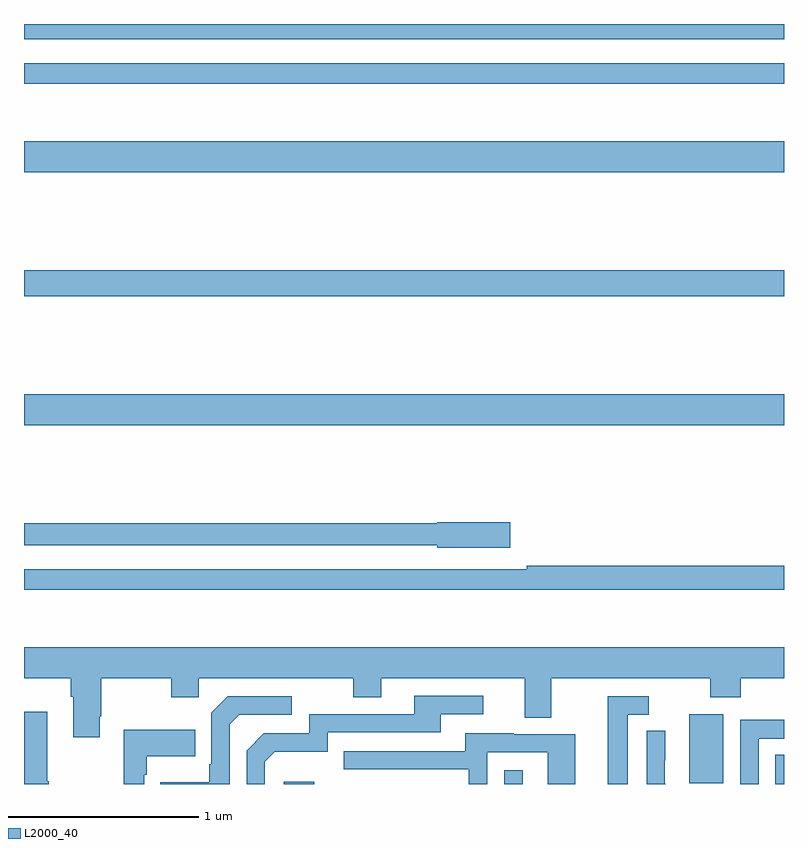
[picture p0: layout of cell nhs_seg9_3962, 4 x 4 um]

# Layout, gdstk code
import gdstk
lib = gdstk.Library(unit=1e-6, precision=1e-09)
def R(c, l, rs):  # rectangles x0, y0, x1, y1
    for r in rs: c.add(gdstk.rectangle(r[:2], r[2:], *l))
def P(c, l, *ps):  # polygons
    for p in ps: c.add(gdstk.Polygon(p, *l))
L2000_40 = (2000, 40)

nhs_seg9_3962 = lib.new_cell('nhs_seg9_3962')
R(nhs_seg9_3962, L2000_40, [(338.367,1226.5,338.528,1226.512), (339.528,1226.5,339.625,1226.572), (340.955,1226.5,341,1226.654), (340.502,1226.505,340.681,1226.866), (337,1228.388,341,1228.552), (337,1229.068,341,1229.204), (337,1229.72,341,1229.884), (337,1230.186,341,1230.294), (337,1230.42,341,1230.5)])
P(nhs_seg9_3962, L2000_40, [(339.559,1227.878),(339.174,1227.878),(339.174,1227.872),(337,1227.872),(337,1227.756),(339.174,1227.756),(339.174,1227.743),(339.559,1227.743)],
  [(341,1227.65),(339.646,1227.65),(339.646,1227.63),(337,1227.63),(337,1227.522),(341,1227.522)],
  [(337.399,1226.857),(337.407,1226.857),(337.407,1227.056),(337.774,1227.056),(337.774,1226.957),(337.92,1226.957),(337.92,1227.056),(338.734,1227.056),(338.734,1226.957),(338.881,1226.957),(338.881,1227.056),(339.635,1227.056),(339.635,1226.848),(339.775,1226.848),(339.775,1227.056),(340.612,1227.056),(340.612,1226.957),(340.772,1226.957),(340.772,1227.056),(341,1227.056),(341,1227.22),(337,1227.22),(337,1227.056),(337.247,1227.056),(337.247,1226.96),(337.259,1226.96),(337.259,1226.745),(337.399,1226.745)],
  [(338.268,1226.616),(338.321,1226.669),(338.598,1226.669),(338.598,1226.772),(339.193,1226.772),(339.193,1226.868),(339.418,1226.868),(339.418,1226.964),(339.053,1226.964),(339.053,1226.868),(338.502,1226.868),(338.502,1226.766),(338.262,1226.766),(338.172,1226.676),(338.172,1226.5),(338.268,1226.5)],
  [(338.082,1226.814),(338.133,1226.865),(338.41,1226.865),(338.41,1226.961),(338.073,1226.961),(337.986,1226.874),(337.986,1226.605),(337.974,1226.605),(337.974,1226.509),(337.717,1226.509),(337.717,1226.5),(338.082,1226.5)],
  [(340.177,1226.865),(340.288,1226.865),(340.288,1226.961),(340.073,1226.961),(340.073,1226.5),(340.177,1226.5)],
  [(337.131,1226.515),(337.123,1226.515),(337.123,1226.881),(337,1226.881),(337,1226.5),(337.131,1226.5)],
  [(340.866,1226.739),(341,1226.739),(341,1226.838),(340.77,1226.838),(340.77,1226.5),(340.866,1226.5)],
  [(337.632,1226.549),(337.645,1226.549),(337.645,1226.645),(337.901,1226.645),(337.901,1226.785),(337.524,1226.785),(337.524,1226.5),(337.632,1226.5)],
  [(340.373,1226.504),(340.373,1226.626),(340.374,1226.626),(340.374,1226.78),(340.278,1226.78),(340.278,1226.5),(340.377,1226.5)],
  [(339.438,1226.667),(339.756,1226.667),(339.756,1226.5),(339.901,1226.5),(339.901,1226.763),(339.577,1226.763),(339.577,1226.767),(339.323,1226.767),(339.323,1226.673),(338.683,1226.673),(338.683,1226.577),(339.342,1226.577),(339.342,1226.5),(339.438,1226.5)])

lib.write_gds('nhs_seg9_3962.gds')
